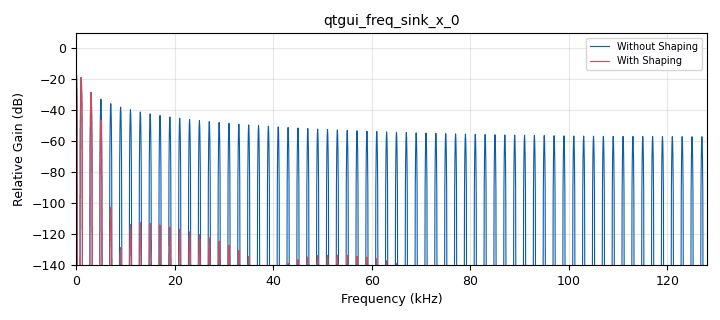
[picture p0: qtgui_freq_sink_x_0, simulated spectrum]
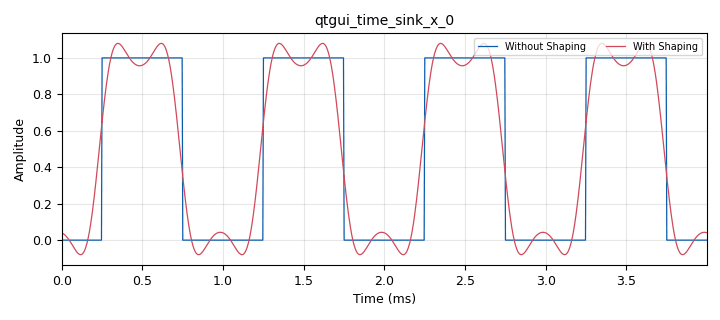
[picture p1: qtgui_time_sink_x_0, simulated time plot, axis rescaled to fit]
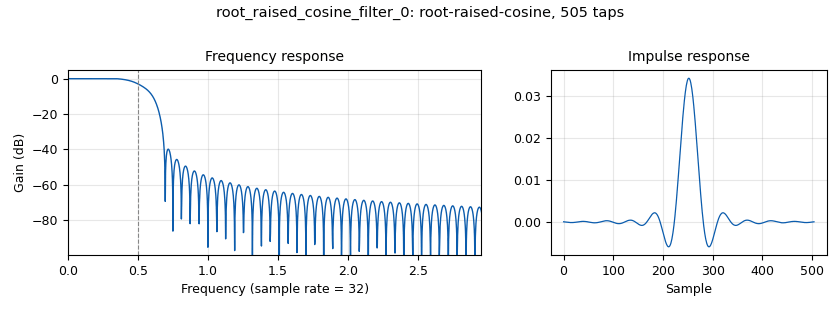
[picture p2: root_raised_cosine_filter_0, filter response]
<?xml version='1.0' encoding='utf-8'?>
<?grc format='1' created='3.7.13'?>
<flow_graph>
<block>
<key>options</key>
<param><key>id</key><value>top_block</value></param>
<param><key>generate_options</key><value>qt_gui</value></param>
</block>
<block>
<key>variable</key>
<param><key>id</key><value>samp_rate</value></param>
<param><key>value</key><value>256000</value></param>
</block>
<block>
<key>analog_sig_source_x</key>
<param><key>id</key><value>analog_sig_source_x_0_3_1_0</value></param>
<param><key>amp</key><value>1</value></param>
<param><key>freq</key><value>1e3</value></param>
<param><key>offset</key><value>0</value></param>
<param><key>type</key><value>float</value></param>
<param><key>samp_rate</key><value>samp_rate</value></param>
<param><key>waveform</key><value>analog.GR_SQR_WAVE</value></param>
</block>
<block>
<key>blocks_throttle</key>
<param><key>id</key><value>blocks_throttle_0</value></param>
<param><key>samples_per_second</key><value>samp_rate</value></param>
<param><key>type</key><value>float</value></param>
</block>
<block>
<key>qtgui_freq_sink_x</key>
<param><key>id</key><value>qtgui_freq_sink_x_0</value></param>
<param><key>bw</key><value>samp_rate</value></param>
<param><key>fc</key><value>0</value></param>
<param><key>ctrlpanel</key><value>True</value></param>
<param><key>fftsize</key><value>4096</value></param>
<param><key>gui_hint</key><value>[1, 5, 1, 4]</value></param>
<param><key>label1</key><value>Without Shaping</value></param>
<param><key>label2</key><value>With Shaping</value></param>
<param><key>nconnections</key><value>2</value></param>
<param><key>showports</key><value>True</value></param>
<param><key>freqhalf</key><value>False</value></param>
<param><key>type</key><value>float</value></param>
<param><key>wintype</key><value>firdes.WIN_BLACKMAN_hARRIS</value></param>
</block>
<block>
<key>qtgui_time_sink_x</key>
<param><key>id</key><value>qtgui_time_sink_x_0</value></param>
<param><key>gui_hint</key><value>[1, 0, 1, 4]</value></param>
<param><key>color1</key><value>"blue"</value></param>
<param><key>label1</key><value>Without Shaping</value></param>
<param><key>color2</key><value>"red"</value></param>
<param><key>label2</key><value>With Shaping</value></param>
<param><key>nconnections</key><value>2</value></param>
<param><key>size</key><value>1024</value></param>
<param><key>srate</key><value>samp_rate</value></param>
<param><key>type</key><value>float</value></param>
</block>
<block>
<key>root_raised_cosine_filter</key>
<param><key>id</key><value>root_raised_cosine_filter_0</value></param>
<param><key>alpha</key><value>0.35</value></param>
<param><key>decim</key><value>1</value></param>
<param><key>type</key><value>fir_filter_fff</value></param>
<param><key>gain</key><value>1</value></param>
<param><key>ntaps</key><value>505</value></param>
<param><key>samp_rate</key><value>32</value></param>
<param><key>sym_rate</key><value>1.0</value></param>
</block>
<connection><source_block_id>analog_sig_source_x_0_3_1_0</source_block_id><sink_block_id>blocks_throttle_0</sink_block_id><source_key>0</source_key><sink_key>0</sink_key></connection>
<connection><source_block_id>analog_sig_source_x_0_3_1_0</source_block_id><sink_block_id>root_raised_cosine_filter_0</sink_block_id><source_key>0</source_key><sink_key>0</sink_key></connection>
<connection><source_block_id>blocks_throttle_0</source_block_id><sink_block_id>qtgui_freq_sink_x_0</sink_block_id><source_key>0</source_key><sink_key>0</sink_key></connection>
<connection><source_block_id>blocks_throttle_0</source_block_id><sink_block_id>qtgui_time_sink_x_0</sink_block_id><source_key>0</source_key><sink_key>0</sink_key></connection>
<connection><source_block_id>root_raised_cosine_filter_0</source_block_id><sink_block_id>qtgui_freq_sink_x_0</sink_block_id><source_key>0</source_key><sink_key>1</sink_key></connection>
<connection><source_block_id>root_raised_cosine_filter_0</source_block_id><sink_block_id>qtgui_time_sink_x_0</sink_block_id><source_key>0</source_key><sink_key>1</sink_key></connection>
</flow_graph>
